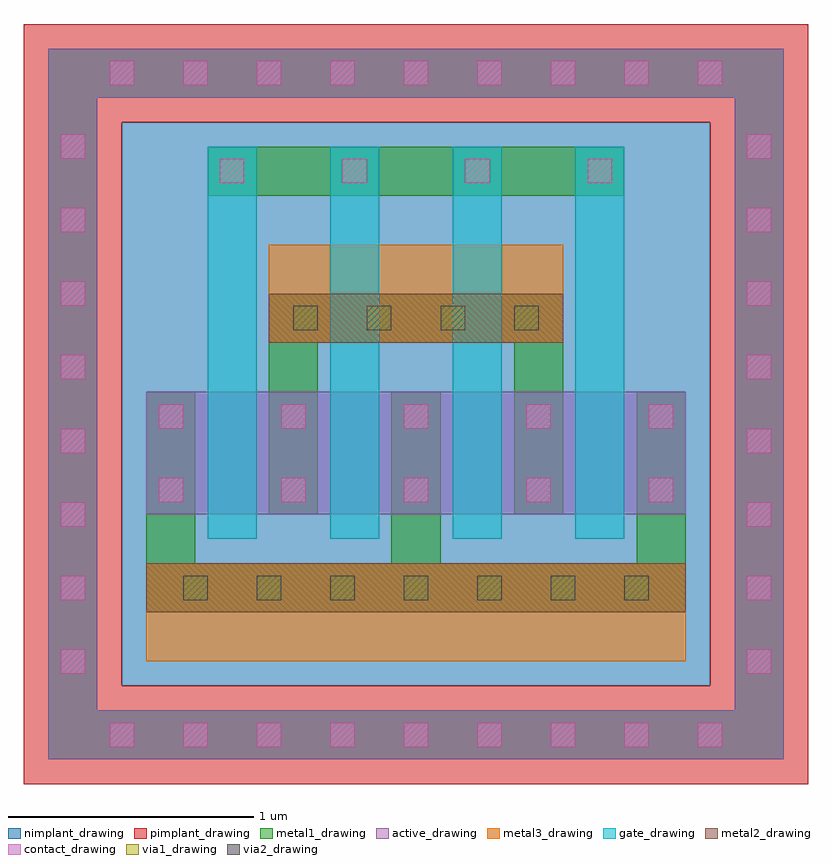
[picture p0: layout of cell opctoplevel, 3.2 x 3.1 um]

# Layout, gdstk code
import gdstk
lib = gdstk.Library(unit=1e-6, precision=1e-09)
def R(c, l, rs):  # rectangles x0, y0, x1, y1
    for r in rs: c.add(gdstk.rectangle(r[:2], r[2:], *l))
def A(c, l, x, y, w, h, nx, ny, dx, dy):  # array of equal rectangles
    R(c, l, [(x+i*dx, y+j*dy, x+i*dx+w, y+j*dy+h) for i in range(nx) for j in range(ny)])
active_drawing = (1, 0)
pimplant_drawing = (4, 0)
nimplant_drawing = (5, 0)
gate_drawing = (6, 0)
contact_drawing = (7, 0)
metal1_drawing = (8, 0)
via1_drawing = (9, 0)
metal2_drawing = (10, 0)
via2_drawing = (11, 0)
metal3_drawing = (12, 0)

opctoplevel = lib.new_cell('opctoplevel')
R(opctoplevel, active_drawing, [(-0.65,-1,2.35,-0.8), (-0.65,-1,-0.45,1.9), (2.15,-1,2.35,1.9), (-0.25,0,1.95,0.5), (-0.65,1.7,2.35,1.9)])
R(opctoplevel, pimplant_drawing, [(-0.75,-1.1,2.45,-0.7), (-0.75,-1.1,-0.35,2), (2.05,-1.1,2.45,2), (-0.75,1.6,2.45,2)])
R(opctoplevel, nimplant_drawing, [(-0.35,-0.7,2.05,1.6)])
A(opctoplevel, gate_drawing, 0, -0.1, 0.2, 1.6, 4, 1, 0.5, 0)
A(opctoplevel, contact_drawing, -0.4, -0.95, 0.1, 0.1, 9, 2, 0.3, 2.7)
A(opctoplevel, contact_drawing, -0.6, -0.65, 0.1, 0.1, 1, 8, 0, 0.3)
A(opctoplevel, contact_drawing, 2.2, -0.65, 0.1, 0.1, 1, 8, 0, 0.3)
A(opctoplevel, contact_drawing, -0.2, 0.05, 0.1, 0.1, 5, 2, 0.5, 0.3)
A(opctoplevel, contact_drawing, 0.05, 1.35, 0.1, 0.1, 4, 1, 0.5, 0)
A(opctoplevel, metal1_drawing, -0.25, -0.2, 0.2, 0.2, 3, 1, 1, 0)
A(opctoplevel, metal1_drawing, -0.25, 0, 0.2, 0.5, 5, 1, 0.5, 0)
R(opctoplevel, metal1_drawing, [(-0.65,-1,2.35,-0.8), (-0.65,-1,-0.45,1.9), (2.15,-1,2.35,1.9), (-0.25,-0.4,1.95,-0.2), (0.25,0.5,0.45,0.7), (1.25,0.5,1.45,0.7), (0.25,0.7,1.45,0.9), (0,1.3,1.7,1.5), (-0.65,1.7,2.35,1.9)])
A(opctoplevel, via1_drawing, -0.1, -0.35, 0.1, 0.1, 7, 1, 0.3, 0)
A(opctoplevel, via1_drawing, 0.35, 0.75, 0.1, 0.1, 4, 1, 0.3, 0)
R(opctoplevel, metal2_drawing, [(-0.25,-0.4,1.95,-0.2), (0.25,0.7,1.45,0.9)])
A(opctoplevel, via2_drawing, -0.1, -0.35, 0.1, 0.1, 7, 1, 0.3, 0)
A(opctoplevel, via2_drawing, 0.35, 0.75, 0.1, 0.1, 4, 1, 0.3, 0)
R(opctoplevel, metal3_drawing, [(-0.25,-0.6,1.95,-0.2), (0.25,0.7,1.45,1.1)])

lib.write_gds('opctoplevel.gds')
